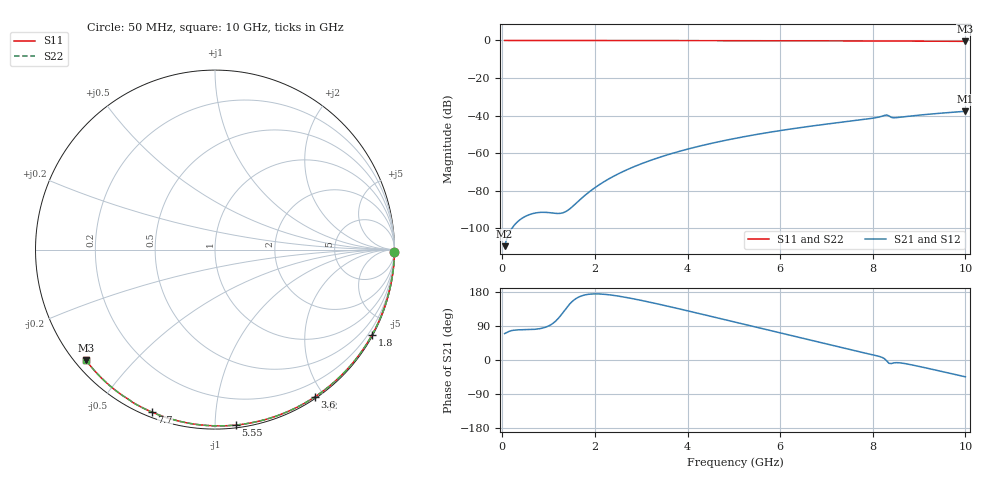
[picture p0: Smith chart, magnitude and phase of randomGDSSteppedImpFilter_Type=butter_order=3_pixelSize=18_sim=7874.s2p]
! freq	dB(S11)	phase(S11)	dB(S12)	phase(S12)
!  dB(S21)	phase(S21)	dB(S22)	phase(S22)
!S-par simulation data
#  GHz  S  DB  R 50
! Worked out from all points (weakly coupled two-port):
!   200 points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, 50 MHz to 10 GHz, reference 50 ohm
!   highest |S21| = -37.73 dB at 10 GHz (marker M1); lowest = -109.6 dB at 50 MHz (marker M2)
!   lowest |S11| = -0.5 dB at 10 GHz (marker M3), VSWR 36.74, Z = 1.55 - j18.5 ohm
!   |S11| at or under -10 dB: nowhere
!   |S22| runs from -0.5 to 0.0 dB; largest |S21 - S12| = 0
!   S11 on the Smith chart (normalised r, x): 50 MHz: open; 1.8 GHz: 0.03, -3.92; 3.6 GHz: 0.02, -1.89; 5.55 GHz: 0.02, -1.12; 7.7 GHz: 0.02, -0.68; 10 GHz: 0.03, -0.37
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0.05  -0.00 -0.8  -109.61 69.7  -109.61 69.7  -0.00 -0.8
0.9  -0.02 -14.4  -91.56 85.2  -91.56 85.2  -0.02 -14.4
1.75  -0.04 -27.8  -83.28 170.6  -83.28 170.6  -0.04 -27.8
1.8  -0.04 -28.6  -82.23 172.1  -82.23 172.1  -0.04 -28.6
1.9  -0.04 -30.2  -80.26 173.9  -80.26 173.9  -0.04 -30.1
2.25  -0.05 -35.6  -74.47 172.8  -74.47 172.8  -0.05 -35.5
2.65  -0.05 -41.7  -69.35 165.6  -69.35 165.6  -0.05 -41.7
3  -0.06 -47.0  -65.72 157.3  -65.72 157.3  -0.06 -46.9
3.4  -0.07 -52.9  -62.23 146.7  -62.23 146.7  -0.07 -52.9
3.6  -0.08 -55.9  -60.68 141.2  -60.68 141.2  -0.07 -55.8
4.3  -0.09 -66.0  -56.05 121.2  -56.05 121.2  -0.09 -65.9
5.05  -0.12 -76.5  -52.08 99.2  -52.08 99.2  -0.12 -76.5
5.55  -0.14 -83.3  -49.83 84.5  -49.83 84.5  -0.14 -83.3
6.7  -0.19 -98.5  -45.54 50.8  -45.54 50.8  -0.19 -98.5
7.7  -0.25 -111.2  -42.44 22.0  -42.44 22.0  -0.25 -111.2
8.05  -0.28 -115.6  -41.23 12.2  -41.23 12.2  -0.28 -115.5
8.3  -0.30 -118.8  -39.69 -2.3  -39.69 -2.3  -0.30 -118.7
8.35  -0.32 -119.4  -40.20 -8.7  -40.20 -8.7  -0.32 -119.3
8.4  -0.32 -120.0  -40.97 -9.4  -40.97 -9.4  -0.32 -119.9
8.5  -0.33 -121.1  -41.14 -7.1  -41.14 -7.1  -0.33 -121.1
9.1  -0.38 -128.5  -39.55 -19.6  -39.55 -19.6  -0.38 -128.4
10  -0.47 -139.4  -37.73 -44.4  -37.73 -44.4  -0.47 -139.4
